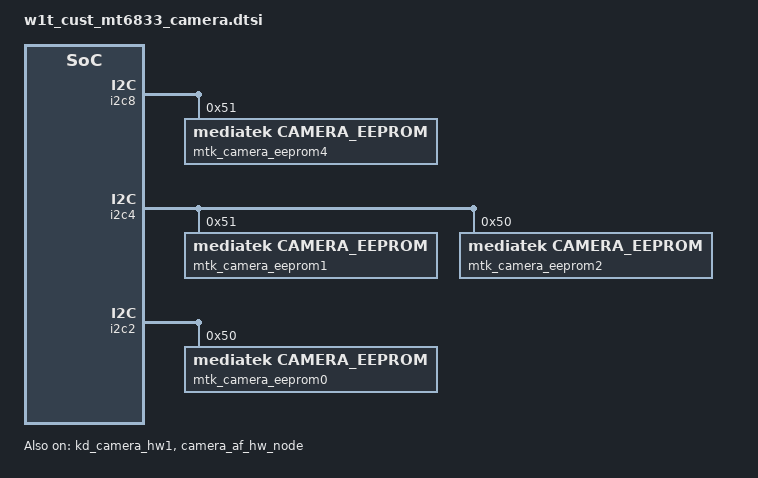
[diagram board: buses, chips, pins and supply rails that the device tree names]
/*
 * Copyright (c) 2019 MediaTek Inc.
 *
 * This program is free software; you can redistribute it and/or modify
 * it under the terms of the GNU General Public License version 2 as
 * published by the Free Software Foundation.
 *
 * This program is distributed in the hope that it will be useful,
 * but WITHOUT ANY WARRANTY; without even the implied warranty of
 * MERCHANTABILITY or FITNESS FOR A PARTICULAR PURPOSE.  See the
 * GNU General Public License for more details.
 */
/* CAMERA GPIO standardization */
&pio {
	camera_pins_cam0_rst_0: cam0@0 {
		pins_cmd_dat {
			pinmux = <PINMUX_GPIO54__FUNC_GPIO54>;
			slew-rate = <1>;
			output-low;
		};
	};
	camera_pins_cam0_rst_1: cam0@1 {
		pins_cmd_dat {
			pinmux = <PINMUX_GPIO54__FUNC_GPIO54>;
			slew-rate = <1>;
			output-high;
		};
	};

	camera_pins_cam1_rst_0: cam1@0 {
		pins_cmd_dat {
			pinmux = <PINMUX_GPIO53__FUNC_GPIO53>;
			slew-rate = <1>;
			output-low;
		};
	};
	camera_pins_cam1_rst_1: cam1@1 {
		pins_cmd_dat {
			pinmux = <PINMUX_GPIO53__FUNC_GPIO53>;
			slew-rate = <1>;
			output-high;
		};
	};

	camera_pins_cam2_rst_0: cam2@0 {
		pins_cmd_dat {
			pinmux = <PINMUX_GPIO60__FUNC_GPIO60>;
			slew-rate = <1>;
			output-low;
		};
	};
	camera_pins_cam2_rst_1: cam2@1 {
		pins_cmd_dat {
			pinmux = <PINMUX_GPIO60__FUNC_GPIO60>;
			slew-rate = <1>;
			output-high;
		};
	};

	camera_pins_cam4_rst_0: cam4@0 {
		pins_cmd_dat {
			pinmux = <PINMUX_GPIO59__FUNC_GPIO59>;
			slew-rate = <1>;
			output-low;
		};
	};
	camera_pins_cam4_rst_1: cam4@1 {
		pins_cmd_dat {
			pinmux = <PINMUX_GPIO59__FUNC_GPIO59>;
			slew-rate = <1>;
			output-high;
		};
	};

	camera_pins_cam0_vcamd_0: cam0@vcam0 {
		pins_cmd_dat {
			pinmux = <PINMUX_GPIO94__FUNC_GPIO94>;
			slew-rate = <1>;
			output-low;
		};
	};
	camera_pins_cam0_vcamd_1: cam0@vcam1 {
		pins_cmd_dat {
			pinmux = <PINMUX_GPIO94__FUNC_GPIO94>;
			slew-rate = <1>;
			output-high;
		};
	};
	camera_pins_cam0_vcama_0: cam0@vcam2 {
		pins_cmd_dat {
			pinmux = <PINMUX_GPIO182__FUNC_GPIO182>;
			slew-rate = <1>;
			output-low;
		};
	};
	camera_pins_cam0_vcama_1: cam0@vcam3 {
		pins_cmd_dat {
			pinmux = <PINMUX_GPIO182__FUNC_GPIO182>;
			slew-rate = <1>;
			output-high;
		};
	};

	camera_pins_cam1_vcamd_0: cam1@vcam0 {
		pins_cmd_dat {
			pinmux = <PINMUX_GPIO94__FUNC_GPIO94>;
			slew-rate = <1>;
			output-low;
		};
	};
	camera_pins_cam1_vcamd_1: cam1@vcam1 {
		pins_cmd_dat {
			pinmux = <PINMUX_GPIO94__FUNC_GPIO94>;
			slew-rate = <1>;
			output-high;
		};
	};
	camera_pins_cam1_vcama_0: cam1@vcam2 {
		pins_cmd_dat {
			pinmux = <PINMUX_GPIO182__FUNC_GPIO182>;
			slew-rate = <1>;
			output-low;
		};
	};
	camera_pins_cam1_vcama_1: cam1@vcam3 {
		pins_cmd_dat {
			pinmux = <PINMUX_GPIO182__FUNC_GPIO182>;
			slew-rate = <1>;
			output-high;
		};
	};
	/*camera_pins_cam2_vcamd_0: cam2@vcam0 {
		pins_cmd_dat {
			pinmux = <PINMUX_GPIO6__FUNC_GPIO6>;
			slew-rate = <1>;
			output-low;
		};
	};
	camera_pins_cam2_vcamd_1: cam2@vcam1 {
		pins_cmd_dat {
			pinmux = <PINMUX_GPIO6__FUNC_GPIO6>;
			slew-rate = <1>;
			output-high;
		};
	};*/
	camera_pins_cam2_vcama_0: cam2@vcam2 {
		pins_cmd_dat {
			pinmux = <PINMUX_GPIO182__FUNC_GPIO182>;
			slew-rate = <1>;
			output-low;
		};
	};
	camera_pins_cam2_vcama_1: cam2@vcam3 {
		pins_cmd_dat {
			pinmux = <PINMUX_GPIO182__FUNC_GPIO182>;
			slew-rate = <1>;
			output-high;
		};
	};
	camera_pins_cam4_vcamd_0: cam4@vcam0 {
		pins_cmd_dat {
			pinmux = <PINMUX_GPIO94__FUNC_GPIO94>;
			slew-rate = <1>;
			output-low;
		};
	};
	camera_pins_cam4_vcamd_1: cam4@vcam1 {
		pins_cmd_dat {
			pinmux = <PINMUX_GPIO94__FUNC_GPIO94>;
			slew-rate = <1>;
			output-high;
		};
	};
	camera_pins_cam4_vcama_0: cam4@vcam2 {
		pins_cmd_dat {
			pinmux = <PINMUX_GPIO182__FUNC_GPIO182>;
			slew-rate = <1>;
			output-low;
		};
	};
	camera_pins_cam4_vcama_1: cam4@vcam3 {
		pins_cmd_dat {
			pinmux = <PINMUX_GPIO182__FUNC_GPIO182>;
			slew-rate = <1>;
			output-high;
		};
	};
	camera_pins_cam0_mclk_off: camera_pins_cam0_mclk_off {
		pins_cmd_dat {
			pinmux = <PINMUX_GPIO49__FUNC_GPIO49>;
			drive-strength = <1>;
		};
	};
	camera_pins_cam0_mclk_2ma: camera_pins_cam0_mclk_2ma {
		pins_cmd_dat {
			pinmux = <PINMUX_GPIO49__FUNC_CMMCLK0>;
			drive-strength = <0>;
		};
	};
	camera_pins_cam0_mclk_4ma: camera_pins_cam0_mclk_4ma {
		pins_cmd_dat {
			pinmux = <PINMUX_GPIO49__FUNC_CMMCLK0>;
			drive-strength = <1>;
		};
	};
	camera_pins_cam0_mclk_6ma: camera_pins_cam0_mclk_6ma {
		pins_cmd_dat {
			pinmux = <PINMUX_GPIO49__FUNC_CMMCLK0>;
			drive-strength = <2>;
		};
	};
	camera_pins_cam0_mclk_8ma: camera_pins_cam0_mclk_8ma {
		pins_cmd_dat {
			pinmux = <PINMUX_GPIO49__FUNC_CMMCLK0>;
			drive-strength = <3>;
		};
	};
	camera_pins_cam1_mclk_off: camera_pins_cam1_mclk_off {
		pins_cmd_dat {
			pinmux = <PINMUX_GPIO52__FUNC_GPIO52>;
			drive-strength = <1>;
		};
	};
	camera_pins_cam1_mclk_2ma: camera_pins_cam1_mclk_2ma {
		pins_cmd_dat {
			pinmux = <PINMUX_GPIO52__FUNC_CMMCLK3>;
			drive-strength = <0>;
		};
	};
	camera_pins_cam1_mclk_4ma: camera_pins_cam1_mclk_4ma {
		pins_cmd_dat {
			pinmux = <PINMUX_GPIO52__FUNC_CMMCLK3>;
			drive-strength = <1>;
		};
	};
	camera_pins_cam1_mclk_6ma: camera_pins_cam1_mclk_6ma {
		pins_cmd_dat {
			pinmux = <PINMUX_GPIO52__FUNC_CMMCLK3>;
			drive-strength = <2>;
		};
	};
	camera_pins_cam1_mclk_8ma: camera_pins_cam1_mclk_8ma {
		pins_cmd_dat {
			pinmux = <PINMUX_GPIO52__FUNC_CMMCLK3>;
			drive-strength = <3>;
		};
	};
	camera_pins_cam2_mclk_off: camera_pins_cam2_mclk_off {
		pins_cmd_dat {
			pinmux = <PINMUX_GPIO50__FUNC_GPIO50>;
			drive-strength = <1>;
		};
	};
	camera_pins_cam2_mclk_2ma: camera_pins_cam2_mclk_2ma {
		pins_cmd_dat {
			pinmux = <PINMUX_GPIO50__FUNC_CMMCLK1>;
			drive-strength = <0>;
		};
	};
	camera_pins_cam2_mclk_4ma: camera_pins_cam2_mclk_4ma {
		pins_cmd_dat {
			pinmux = <PINMUX_GPIO50__FUNC_CMMCLK1>;
			drive-strength = <1>;
		};
	};
	camera_pins_cam2_mclk_6ma: camera_pins_cam2_mclk_6ma {
		pins_cmd_dat {
			pinmux = <PINMUX_GPIO50__FUNC_CMMCLK1>;
			drive-strength = <2>;
		};
	};
	camera_pins_cam2_mclk_8ma: camera_pins_cam2_mclk_8ma {
		pins_cmd_dat {
			pinmux = <PINMUX_GPIO50__FUNC_CMMCLK1>;
			drive-strength = <3>;
		};
	};
	camera_pins_cam4_mclk_off: camera_pins_cam4_mclk_off {
		pins_cmd_dat {
			pinmux = <PINMUX_GPIO51__FUNC_GPIO51>;
			drive-strength = <1>;
		};
	};
	camera_pins_cam4_mclk_2ma: camera_pins_cam4_mclk_2ma {
		pins_cmd_dat {
			pinmux = <PINMUX_GPIO51__FUNC_CMMCLK2>;
			drive-strength = <0>;
		};
	};
	camera_pins_cam4_mclk_4ma: camera_pins_cam4_mclk_4ma {
		pins_cmd_dat {
			pinmux = <PINMUX_GPIO51__FUNC_CMMCLK2>;
			drive-strength = <1>;
		};
	};
	camera_pins_cam4_mclk_6ma: camera_pins_cam4_mclk_6ma {
		pins_cmd_dat {
			pinmux = <PINMUX_GPIO51__FUNC_CMMCLK2>;
			drive-strength = <2>;
		};
	};
	camera_pins_cam4_mclk_8ma: camera_pins_cam4_mclk_8ma {
		pins_cmd_dat {
			pinmux = <PINMUX_GPIO51__FUNC_CMMCLK2>;
			drive-strength = <3>;
		};
	};
	/*camera_pins_cam_mipi_switch_en_1: mipi_en@1 {
		pins_cmd_dat {
			pinmux = <PINMUX_GPIO131__FUNC_GPIO131>;
			slew-rate = <1>;
			output-high;
		};
	};
	camera_pins_cam_mipi_switch_en_0: mipi_en@0 {
		pins_cmd_dat {
			pinmux = <PINMUX_GPIO131__FUNC_GPIO131>;
			slew-rate = <1>;
			output-low;
		};
	};*/
	camera_pins_cam_mipi_switch_sel_1: mipi_sel@1 {
		pins_cmd_dat {
			pinmux = <PINMUX_GPIO139__FUNC_GPIO139>;
			slew-rate = <1>;
			output-high;
		};
	};
	camera_pins_cam_mipi_switch_sel_0: mipi_sel@0 {
		pins_cmd_dat {
			pinmux = <PINMUX_GPIO139__FUNC_GPIO139>;
			slew-rate = <1>;
			output-low;
		};
	};
	//rear camera
	camera_pins_cam0_vcamd_1v1_0: cam0@vcam4 {
		pins_cmd_dat {
			pinmux = <PINMUX_GPIO131__FUNC_GPIO131>;
			slew-rate = <1>;
			output-low;
		};
	};
	camera_pins_cam0_vcamd_1v1_1: cam0@vcam5 {
		pins_cmd_dat {
			pinmux = <PINMUX_GPIO131__FUNC_GPIO131>;
			slew-rate = <1>;
			output-high;
		};
	};
	camera_pins_cam0_vcamd_1v2_0: cam0@vcam6 {
		pins_cmd_dat {
			pinmux = <PINMUX_GPIO93__FUNC_GPIO93>;
			slew-rate = <1>;
			output-low;
		};
	};
	camera_pins_cam0_vcamd_1v2_1: cam0@vcam7 {
		pins_cmd_dat {
			pinmux = <PINMUX_GPIO93__FUNC_GPIO93>;
			slew-rate = <1>;
			output-high;
		};
	};
        /*front camera*/
        camera_pins_cam1_vcamd_1v1_0: cam0@vcam8 {
                pins_cmd_dat {
                        pinmux = <PINMUX_GPIO131__FUNC_GPIO131>;
                        slew-rate = <1>;
                        output-low;
                };
        };
        camera_pins_cam1_vcamd_1v1_1: cam0@vcam9 {
                pins_cmd_dat {
                        pinmux = <PINMUX_GPIO131__FUNC_GPIO131>;
                        slew-rate = <1>;
                        output-high;
                };
        };
        camera_pins_cam1_vcamd_1v2_0: cam0@vcam10 {
                pins_cmd_dat {
                        pinmux = <PINMUX_GPIO93__FUNC_GPIO93>;
                        slew-rate = <1>;
                        output-low;
                };
        };
        camera_pins_cam1_vcamd_1v2_1: cam0@vcam11 {
                pins_cmd_dat {
                        pinmux = <PINMUX_GPIO93__FUNC_GPIO93>;
                        slew-rate = <1>;
                        output-high;
                };
        };
	//wide camera
	camera_pins_cam4_vcamd_1v1_0: cam0@vcam12 {
		pins_cmd_dat {
			pinmux = <PINMUX_GPIO131__FUNC_GPIO131>;
			slew-rate = <1>;
			output-low;
		};
	};
	camera_pins_cam4_vcamd_1v1_1: cam0@vcam13 {
		pins_cmd_dat {
			pinmux = <PINMUX_GPIO131__FUNC_GPIO131>;
			slew-rate = <1>;
			output-high;
		};
	};
	camera_pins_cam4_vcamd_1v2_0: cam0@vcam14 {
		pins_cmd_dat {
			pinmux = <PINMUX_GPIO93__FUNC_GPIO93>;
			slew-rate = <1>;
			output-low;
		};
	};
	camera_pins_cam4_vcamd_1v2_1: cam0@vcam15 {
		pins_cmd_dat {
			pinmux = <PINMUX_GPIO93__FUNC_GPIO93>;
			slew-rate = <1>;
			output-high;
		};
	};
	//+bug604664 chenbocheng.wt, add, 2021/04/07, add the wide camera DVDD enable pin for main board S96806
	camera_pins_cam4_vcamd2_0: cam0@vcam16 {
		pins_cmd_dat {
			pinmux = <PINMUX_GPIO92__FUNC_GPIO92>;
			slew-rate = <1>;
			output-low;
		};
	};
	camera_pins_cam4_vcamd2_1: cam0@vcam17 {
		pins_cmd_dat {
			pinmux = <PINMUX_GPIO92__FUNC_GPIO92>;
			slew-rate = <1>;
			output-high;
		};
	};
	//-bug604664 chenbocheng.wt, add, 2021/04/07, add the wide camera DVDD enable pin for main board S96806
	//+bug604664 chenbocheng.wt, add, 2021/01/06, add DVDD 1V2 pin input status
	camera_pins_cam0_int_active: int_active {
		pins_cmd_dat {
			pinmux = <PINMUX_GPIO93__FUNC_GPIO93>;
			input-enable;
		};
	};
	//-bug604664 chenbocheng.wt, add, 2021/01/06, add DVDD 1V2 pin input status
	camera_pins_default: camdefault {
	};

};
&kd_camera_hw1 {
	pinctrl-names = "default",
			"cam0_rst0", "cam0_rst1",
			"cam1_rst0", "cam1_rst1",
			"cam2_rst0", "cam2_rst1",
			"cam4_rst0", "cam4_rst1",
			"cam0_ldo_vcamd_0", "cam0_ldo_vcamd_1",
			"cam0_ldo_vcama_0", "cam0_ldo_vcama_1",
			"cam1_ldo_vcamd_0", "cam1_ldo_vcamd_1",
			"cam1_ldo_vcama_0", "cam1_ldo_vcama_1",
			/*"cam2_ldo_vcamd_0", "cam2_ldo_vcamd_1",*/
			"cam2_ldo_vcama_0", "cam2_ldo_vcama_1",
			"cam4_ldo_vcamd_0", "cam4_ldo_vcamd_1",
			"cam4_ldo_vcama_0", "cam4_ldo_vcama_1",
			"cam0_mclk_off",
			"cam0_mclk_2mA", "cam0_mclk_4mA",
			"cam0_mclk_6mA", "cam0_mclk_8mA",
			"cam1_mclk_off",
			"cam1_mclk_2mA", "cam1_mclk_4mA",
			"cam1_mclk_6mA", "cam1_mclk_8mA",
			"cam2_mclk_off",
			"cam2_mclk_2mA", "cam2_mclk_4mA",
			"cam2_mclk_6mA", "cam2_mclk_8mA",
			"cam4_mclk_off",
			"cam4_mclk_2mA", "cam4_mclk_4mA",
			"cam4_mclk_6mA", "cam4_mclk_8mA",
			/*"cam_mipi_switch_en_1", "cam_mipi_switch_en_0",*/
			"cam_mipi_switch_sel_1", "cam_mipi_switch_sel_0",
			"cam0_ldo_vcamd_1v1_0","cam0_ldo_vcamd_1v1_1",
			"cam0_ldo_vcamd_1v2_0","cam0_ldo_vcamd_1v2_1",
			"cam1_ldo_vcamd_1v1_0","cam1_ldo_vcamd_1v1_1",
			"cam1_ldo_vcamd_1v2_0","cam1_ldo_vcamd_1v2_1",
			"cam4_ldo_vcamd_1v1_0","cam4_ldo_vcamd_1v1_1",
			"cam4_ldo_vcamd_1v2_0","cam4_ldo_vcamd_1v2_1",
			"cam4_ldo_vcamd2_0","cam4_ldo_vcamd2_1",
			"cam0_ldo_vcamd_1v2_in";

	pinctrl-0 = <&camera_pins_default>;
	pinctrl-1 = <&camera_pins_cam0_rst_0>;
	pinctrl-2 = <&camera_pins_cam0_rst_1>;
	pinctrl-3 = <&camera_pins_cam1_rst_0>;
	pinctrl-4 = <&camera_pins_cam1_rst_1>;
	pinctrl-5 = <&camera_pins_cam2_rst_0>;
	pinctrl-6 = <&camera_pins_cam2_rst_1>;
	pinctrl-7 = <&camera_pins_cam4_rst_0>;
	pinctrl-8 = <&camera_pins_cam4_rst_1>;
	pinctrl-9 = <&camera_pins_cam0_vcamd_0>;
	pinctrl-10 = <&camera_pins_cam0_vcamd_1>;
	pinctrl-11 = <&camera_pins_cam0_vcama_0>;
	pinctrl-12 = <&camera_pins_cam0_vcama_1>;
	pinctrl-13 = <&camera_pins_cam1_vcamd_0>;
	pinctrl-14 = <&camera_pins_cam1_vcamd_1>;
	pinctrl-15 = <&camera_pins_cam1_vcama_0>;
	pinctrl-16 = <&camera_pins_cam1_vcama_1>;
	/*pinctrl-17 = <&camera_pins_cam2_vcamd_0>;
	pinctrl-18 = <&camera_pins_cam2_vcamd_1>;*/
	pinctrl-17 = <&camera_pins_cam2_vcama_0>;
	pinctrl-18 = <&camera_pins_cam2_vcama_1>;
	pinctrl-19 = <&camera_pins_cam4_vcamd_0>;
	pinctrl-20 = <&camera_pins_cam4_vcamd_1>;
	pinctrl-21 = <&camera_pins_cam4_vcama_0>;
	pinctrl-22 = <&camera_pins_cam4_vcama_1>;
	pinctrl-23 = <&camera_pins_cam0_mclk_off>;
	pinctrl-24 = <&camera_pins_cam0_mclk_2ma>;
	pinctrl-25 = <&camera_pins_cam0_mclk_4ma>;
	pinctrl-26 = <&camera_pins_cam0_mclk_6ma>;
	pinctrl-27 = <&camera_pins_cam0_mclk_8ma>;
	pinctrl-28 = <&camera_pins_cam1_mclk_off>;
	pinctrl-29 = <&camera_pins_cam1_mclk_2ma>;
	pinctrl-30 = <&camera_pins_cam1_mclk_4ma>;
	pinctrl-31 = <&camera_pins_cam1_mclk_6ma>;
	pinctrl-32 = <&camera_pins_cam1_mclk_8ma>;
	pinctrl-33 = <&camera_pins_cam2_mclk_off>;
	pinctrl-34 = <&camera_pins_cam2_mclk_2ma>;
	pinctrl-35 = <&camera_pins_cam2_mclk_4ma>;
	pinctrl-36 = <&camera_pins_cam2_mclk_6ma>;
	pinctrl-37 = <&camera_pins_cam2_mclk_8ma>;
	pinctrl-38 = <&camera_pins_cam4_mclk_off>;
	pinctrl-39 = <&camera_pins_cam4_mclk_2ma>;
	pinctrl-40 = <&camera_pins_cam4_mclk_4ma>;
	pinctrl-41 = <&camera_pins_cam4_mclk_6ma>;
	pinctrl-42 = <&camera_pins_cam4_mclk_8ma>;
	/*pinctrl-45 = <&camera_pins_cam_mipi_switch_en_1>;
	pinctrl-46 = <&camera_pins_cam_mipi_switch_en_0>;*/
	pinctrl-43 = <&camera_pins_cam_mipi_switch_sel_1>;
	pinctrl-44 = <&camera_pins_cam_mipi_switch_sel_0>;
	pinctrl-45 = <&camera_pins_cam0_vcamd_1v1_0>;
	pinctrl-46 = <&camera_pins_cam0_vcamd_1v1_1>;
	pinctrl-47 = <&camera_pins_cam0_vcamd_1v2_0>;
	pinctrl-48 = <&camera_pins_cam0_vcamd_1v2_1>;
	pinctrl-49 = <&camera_pins_cam1_vcamd_1v1_0>;
	pinctrl-50 = <&camera_pins_cam1_vcamd_1v1_1>;
	pinctrl-51 = <&camera_pins_cam1_vcamd_1v2_0>;
	pinctrl-52 = <&camera_pins_cam1_vcamd_1v2_1>;
	pinctrl-53 = <&camera_pins_cam4_vcamd_1v1_0>;
	pinctrl-54 = <&camera_pins_cam4_vcamd_1v1_1>;
	pinctrl-55 = <&camera_pins_cam4_vcamd_1v2_0>;
	pinctrl-56 = <&camera_pins_cam4_vcamd_1v2_1>;
	pinctrl-57 = <&camera_pins_cam4_vcamd2_0>;
	pinctrl-58 = <&camera_pins_cam4_vcamd2_1>;
	pinctrl-59 = <&camera_pins_cam0_int_active>;

	cam0_vcamio-supply = <&mt_pmic_vcamio_ldo_reg>;
	cam1_vcamio-supply = <&mt_pmic_vcamio_ldo_reg>;
	cam2_vcamio-supply = <&mt_pmic_vcamio_ldo_reg>;
	cam4_vcamio-supply = <&mt_pmic_vcamio_ldo_reg>;

	cam0_enable_sensor = "w1hi4821qrearqt_mipi_raw w1hi4821qrearsy_mipi_raw w1ov48b2qrearxl_mipi_raw w1ov64b40reartxd_mipi_raw";
	cam1_enable_sensor = "w1hi846frontst_mipi_raw w1gc8034frontdc_mipi_raw w1hi846frontst2_mipi_raw w1c8490fronttxd_mipi_raw";
	cam2_enable_sensor = "w1c2515depsj_mipi_mono w1c2515depsj64_mipi_mono w1bf2253deplh_mipi_raw w1bf2253deplh3_mipi_raw w1bf2253deplh64_mipi_raw w1gc02m1bdepcxt_mipi_mono w1gc02m1bdepcxt5_mipi_mono";
	cam3_enable_sensor = "w1_cam3_dummy_sensor_mipi_raw";
	cam4_enable_sensor = "w1hi556widexl_mipi_raw w1gc5035cwidecxt_mipi_raw w1sc500cswidely_mipi_raw";

	status = "okay";
};
/* CAMERA GPIO end */

/* CAMERA EEPROM */
/*+bug604664 zhouyikuan, add, 2020/12/18,hi4821q_qt eeprom bring up*/
&i2c8 {
	mtk_camera_eeprom4:camera_eeprom4@51 {
		compatible = "mediatek,camera_eeprom";
		reg = <0x51>;
		status = "okay";
	};
};
&i2c4 {
	mtk_camera_eeprom1:camera_eeprom1@51 {
		compatible = "mediatek,camera_eeprom";
		reg = <0x51>;
		status = "okay";
	};
	mtk_camera_eeprom2:camera_eeprom2@50 {
		compatible = "mediatek,camera_eeprom";
		reg = <0x50>;
		status = "okay";
	};
};
&i2c2 {
	mtk_camera_eeprom0:camera_eeprom0@50 {
		compatible = "mediatek,camera_eeprom";
		reg = <0x50>;
		status = "okay";
	};
};
/*-bug604664 zhouyikuan, add, 2020/12/18,hi4821q_qt eeprom bring up*/
/* CAMERA EEPROM end */

//+bug604664 chenbocheng.wt, add, 2020/12/17, 1st supply main af CN3938A porting
&camera_af_hw_node {
		vldo28-supply = <&mt_pmic_vtp_ldo_reg>;
		status = "okay";
};
/* CAMERA LENS end */
//-bug604664 chenbocheng.wt, add, 2020/12/17, 1st supply main af CN3938A porting

